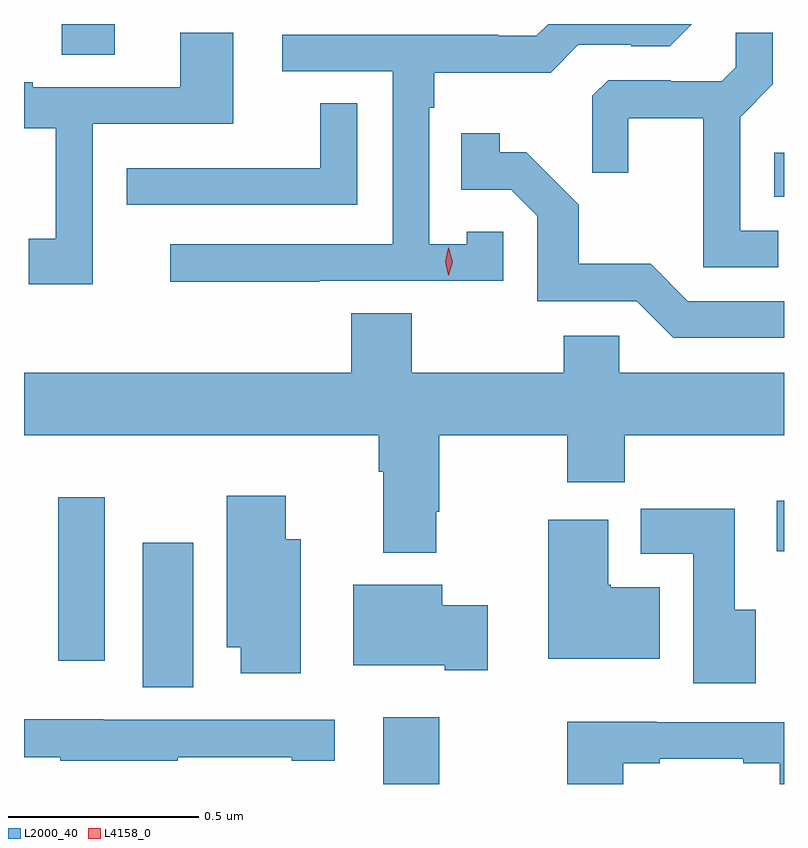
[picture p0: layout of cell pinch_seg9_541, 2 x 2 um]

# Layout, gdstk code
import gdstk
lib = gdstk.Library(unit=1e-6, precision=1e-09)
def R(c, l, rs):  # rectangles x0, y0, x1, y1
    for r in rs: c.add(gdstk.rectangle(r[:2], r[2:], *l))
def P(c, l, *ps):  # polygons
    for p in ps: c.add(gdstk.Polygon(p, *l))
L2000_40 = (2000, 40)
L4158_0 = (4158, 0)

pinch_seg9_541 = lib.new_cell('pinch_seg9_541')
R(pinch_seg9_541, L2000_40, [(383.333,1191.506,383.481,1191.682), (382.7,1191.76,382.834,1192.141), (382.478,1191.831,382.6,1192.261), (384.369,1192.118,384.388,1192.252), (384.362,1193.051,384.388,1193.167), (382.487,1193.425,382.627,1193.506)])
P(pinch_seg9_541, L2000_40, [(383.165,1192.83),(383.649,1192.83),(383.649,1192.959),(383.553,1192.959),(383.553,1192.927),(383.454,1192.927),(383.454,1193.285),(383.467,1193.285),(383.467,1193.378),(383.774,1193.378),(383.847,1193.451),(383.986,1193.451),(383.986,1193.448),(384.087,1193.448),(384.145,1193.506),(383.767,1193.506),(383.736,1193.475),(383.636,1193.475),(383.636,1193.478),(383.067,1193.478),(383.067,1193.382),(383.358,1193.382),(383.358,1192.926),(382.773,1192.926),(382.773,1192.828),(383.165,1192.828)],
  [(382.569,1193.244),(382.939,1193.244),(382.939,1193.483),(382.799,1193.483),(382.799,1193.34),(382.411,1193.34),(382.411,1193.353),(382.388,1193.353),(382.388,1193.232),(382.472,1193.232),(382.472,1192.941),(382.401,1192.941),(382.401,1192.821),(382.569,1192.821)],
  [(384.373,1192.962),(384.273,1192.962),(384.273,1193.261),(384.359,1193.347),(384.359,1193.483),(384.261,1193.483),(384.261,1193.392),(384.224,1193.355),(384.09,1193.355),(384.09,1193.358),(383.925,1193.358),(383.884,1193.317),(383.884,1193.115),(383.978,1193.115),(383.978,1193.258),(384.176,1193.258),(384.176,1192.866),(384.373,1192.866)],
  [(383.265,1193.297),(383.167,1193.297),(383.167,1193.127),(382.771,1193.127),(382.771,1193.126),(382.659,1193.126),(382.659,1193.031),(383.265,1193.031)],
  [(384.388,1192.776),(384.135,1192.776),(384.037,1192.875),(383.848,1192.875),(383.848,1193.03),(383.71,1193.168),(383.64,1193.168),(383.64,1193.218),(383.539,1193.218),(383.539,1193.07),(383.67,1193.07),(383.739,1193.001),(383.739,1192.776),(384,1192.776),(384.096,1192.68),(384.388,1192.68)],
  [(383.473,1192.222),(383.481,1192.222),(383.481,1192.424),(383.818,1192.424),(383.818,1192.3),(383.969,1192.3),(383.969,1192.424),(384.388,1192.424),(384.388,1192.588),(383.955,1192.588),(383.955,1192.686),(383.809,1192.686),(383.809,1192.588),(383.409,1192.588),(383.409,1192.745),(383.249,1192.745),(383.249,1192.588),(382.388,1192.588),(382.388,1192.424),(383.321,1192.424),(383.321,1192.328),(383.333,1192.328),(383.333,1192.115),(383.473,1192.115)],
  [(383.116,1192.15),(383.077,1192.15),(383.077,1192.264),(382.922,1192.264),(382.922,1191.866),(382.958,1191.866),(382.958,1191.798),(383.116,1191.798)],
  [(384.313,1191.964),(384.259,1191.964),(384.259,1192.23),(384.011,1192.23),(384.011,1192.112),(384.149,1192.112),(384.149,1191.771),(384.313,1191.771)],
  [(384.061,1192.024),(383.932,1192.024),(383.932,1192.03),(383.926,1192.03),(383.926,1192.201),(383.768,1192.201),(383.768,1191.836),(384.061,1191.836)],
  [(383.608,1191.976),(383.488,1191.976),(383.488,1192.03),(383.255,1192.03),(383.255,1191.818),(383.495,1191.818),(383.495,1191.806),(383.608,1191.806)],
  [(382.793,1191.577),(383.093,1191.577),(383.093,1191.567),(383.206,1191.567),(383.206,1191.675),(382.596,1191.675),(382.596,1191.676),(382.388,1191.676),(382.388,1191.577),(382.483,1191.577),(382.483,1191.567),(382.793,1191.567)],
  [(383.965,1191.561),(384.061,1191.561),(384.061,1191.573),(384.281,1191.573),(384.281,1191.561),(384.377,1191.561),(384.377,1191.506),(384.388,1191.506),(384.388,1191.669),(384.053,1191.669),(384.053,1191.67),(383.818,1191.67),(383.818,1191.506),(383.965,1191.506)])
P(pinch_seg9_541, L4158_0, [(383.505,1192.845),(383.496,1192.881),(383.505,1192.917),(383.506,1192.917),(383.506,1192.917),(383.516,1192.881),(383.506,1192.845),(383.506,1192.845)])

lib.write_gds('pinch_seg9_541.gds')
